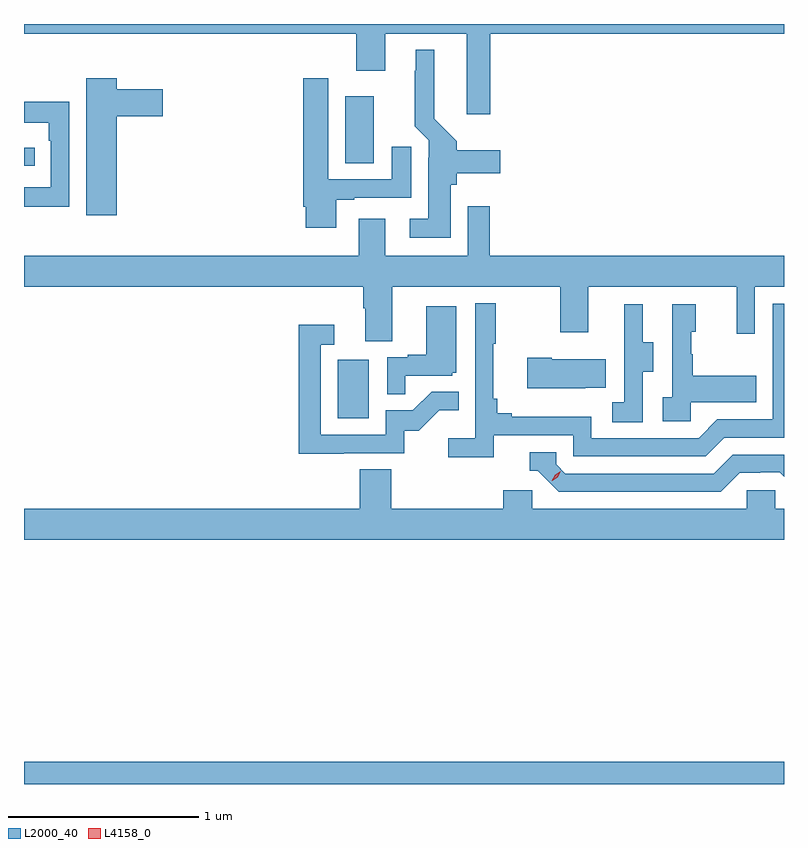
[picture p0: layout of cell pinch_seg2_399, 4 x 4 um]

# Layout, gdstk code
import gdstk
lib = gdstk.Library(unit=1e-6, precision=1e-09)
def R(c, l, rs):  # rectangles x0, y0, x1, y1
    for r in rs: c.add(gdstk.rectangle(r[:2], r[2:], *l))
def P(c, l, *ps):  # polygons
    for p in ps: c.add(gdstk.Polygon(p, *l))
L2000_40 = (2000, 40)
L4158_0 = (4158, 0)

pinch_seg2_399 = lib.new_cell('pinch_seg2_399')
R(pinch_seg2_399, L2000_40, [(962.426,603.727,966.426,603.844), (964.076,605.652,964.24,605.959), (962.426,606.981,962.482,607.077), (964.118,606.994,964.267,607.348)])
P(pinch_seg2_399, L2000_40, [(964.88,607.676),(966.426,607.676),(966.426,607.727),(962.426,607.727),(962.426,607.676),(964.175,607.676),(964.175,607.482),(964.327,607.482),(964.327,607.676),(964.757,607.676),(964.757,607.251),(964.88,607.251)],
  [(964.672,606.882),(964.703,606.882),(964.703,606.941),(964.933,606.941),(964.933,607.063),(964.703,607.063),(964.703,607.11),(964.585,607.228),(964.585,607.591),(964.487,607.591),(964.487,607.481),(964.483,607.481),(964.483,607.19),(964.557,607.116),(964.557,607.022),(964.553,607.022),(964.553,606.703),(964.455,606.703),(964.455,606.602),(964.672,606.602)],
  [(962.914,607.241),(963.157,607.241),(963.157,607.383),(962.914,607.383),(962.914,607.441),(962.753,607.441),(962.753,606.72),(962.914,606.72)],
  [(964.069,606.801),(964.165,606.801),(964.165,606.813),(964.465,606.813),(964.465,607.081),(964.361,607.081),(964.361,606.909),(964.027,606.909),(964.027,607.441),(963.896,607.441),(963.896,606.766),(963.908,606.766),(963.908,606.654),(964.069,606.654)],
  [(962.664,607.318),(962.426,607.318),(962.426,607.208),(962.555,607.208),(962.555,607.112),(962.568,607.112),(962.568,606.867),(962.426,606.867),(962.426,606.766),(962.664,606.766)],
  [(964.363,606.344),(965.248,606.344),(965.248,606.105),(965.395,606.105),(965.395,606.344),(966.176,606.344),(966.176,606.096),(966.273,606.096),(966.273,606.344),(966.426,606.344),(966.426,606.508),(964.877,606.508),(964.877,606.769),(964.761,606.769),(964.761,606.508),(964.327,606.508),(964.327,606.703),(964.187,606.703),(964.187,606.508),(962.426,606.508),(962.426,606.344),(964.211,606.344),(964.211,606.232),(964.223,606.232),(964.223,606.058),(964.363,606.058)],
  [(964.898,605.562),(965.316,605.562),(965.316,605.451),(966.013,605.451),(966.112,605.55),(966.426,605.55),(966.426,606.255),(966.366,606.255),(966.366,605.646),(966.075,605.646),(965.976,605.547),(965.412,605.547),(965.412,605.659),(964.993,605.659),(964.993,605.678),(964.916,605.678),(964.916,605.755),(964.897,605.755),(964.897,606.043),(964.909,606.043),(964.909,606.256),(964.8,606.256),(964.8,605.548),(964.659,605.548),(964.659,605.446),(964.898,605.446)],
  [(965.934,605.735),(966.281,605.735),(966.281,605.875),(965.947,605.875),(965.947,605.99),(965.937,605.99),(965.937,606.108),(965.962,606.108),(965.962,606.253),(965.838,606.253),(965.838,605.762),(965.787,605.762),(965.787,605.637),(965.934,605.637)],
  [(965.682,605.896),(965.737,605.896),(965.737,606.051),(965.683,606.051),(965.683,606.253),(965.585,606.253),(965.585,606.039),(965.586,606.039),(965.586,605.735),(965.523,605.735),(965.523,605.632),(965.682,605.632)],
  [(964.433,605.877),(964.68,605.877),(964.68,605.892),(964.702,605.892),(964.702,606.241),(964.544,606.241),(964.544,605.986),(964.445,605.986),(964.445,605.973),(964.338,605.973),(964.338,605.779),(964.433,605.779)],
  [(964.109,605.469),(964.428,605.469),(964.428,605.586),(964.504,605.586),(964.611,605.693),(964.715,605.693),(964.715,605.792),(964.571,605.792),(964.473,605.694),(964.329,605.694),(964.329,605.565),(963.987,605.565),(963.987,606.039),(964.06,606.039),(964.06,606.145),(963.871,606.145),(963.871,605.464),(964.109,605.464)],
  [(965.381,605.813),(965.489,605.813),(965.489,605.962),(965.203,605.962),(965.203,605.97),(965.075,605.97),(965.075,605.81),(965.381,605.81)],
  [(966.193,605.364),(966.3,605.364),(966.3,605.367),(966.403,605.367),(966.426,605.344),(966.426,605.46),(966.156,605.46),(966.057,605.361),(965.274,605.361),(965.226,605.409),(965.226,605.472),(965.087,605.472),(965.087,605.376),(965.13,605.376),(965.241,605.265),(966.094,605.265)],
  [(966.426,605.176),(966.381,605.176),(966.381,605.274),(966.231,605.274),(966.231,605.176),(965.1,605.176),(965.1,605.274),(964.949,605.274),(964.949,605.176),(964.358,605.176),(964.358,605.384),(964.193,605.384),(964.193,605.176),(962.426,605.176),(962.426,605.012),(966.426,605.012)])
P(pinch_seg2_399, L4158_0, [(965.204,605.322),(965.204,605.322),(965.221,605.354),(965.252,605.373),(965.252,605.373),(965.252,605.373),(965.236,605.341),(965.205,605.322)])

lib.write_gds('pinch_seg2_399.gds')
